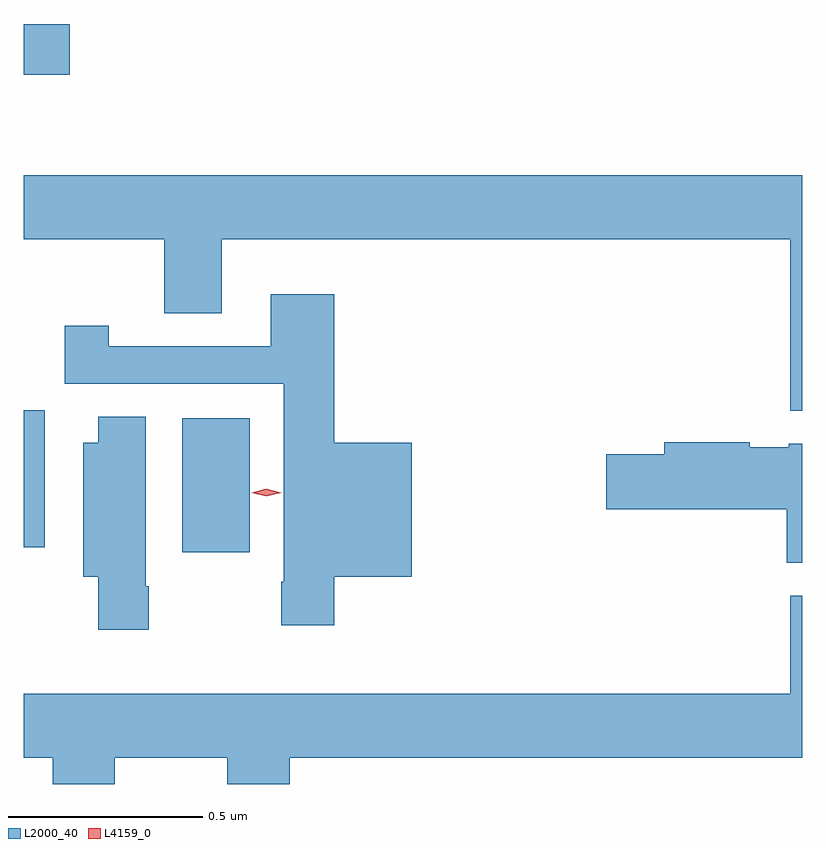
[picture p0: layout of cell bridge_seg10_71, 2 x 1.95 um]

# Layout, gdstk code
import gdstk
lib = gdstk.Library(unit=1e-6, precision=1e-09)
def R(c, l, rs):  # rectangles x0, y0, x1, y1
    for r in rs: c.add(gdstk.rectangle(r[:2], r[2:], *l))
def P(c, l, *ps):  # polygons
    for p in ps: c.add(gdstk.Polygon(p, *l))
L2000_40 = (2000, 40)
L4159_0 = (4159, 0)

bridge_seg10_71 = lib.new_cell('bridge_seg10_71')
R(bridge_seg10_71, L2000_40, [(731.678,1254.224,731.851,1254.568), (731.271,1254.237,731.325,1254.589), (731.271,1255.451,731.389,1255.581)])
P(bridge_seg10_71, L2000_40, [(733.271,1255.192),(731.271,1255.192),(731.271,1255.028),(731.632,1255.028),(731.632,1254.838),(731.779,1254.838),(731.779,1255.028),(733.241,1255.028),(733.241,1254.587),(733.271,1254.587)],
  [(732.068,1254.161),(732.268,1254.161),(732.268,1254.505),(732.068,1254.505),(732.068,1254.886),(731.906,1254.886),(731.906,1254.753),(731.489,1254.753),(731.489,1254.805),(731.376,1254.805),(731.376,1254.657),(731.939,1254.657),(731.939,1254.148),(731.932,1254.148),(731.932,1254.036),(732.068,1254.036)],
  [(731.592,1254.136),(731.584,1254.136),(731.584,1254.572),(731.462,1254.572),(731.462,1254.505),(731.423,1254.505),(731.423,1254.161),(731.462,1254.161),(731.462,1254.024),(731.592,1254.024)],
  [(733.271,1254.502),(733.236,1254.502),(733.236,1254.493),(733.136,1254.493),(733.136,1254.506),(732.917,1254.506),(732.917,1254.476),(732.768,1254.476),(732.768,1254.334),(733.232,1254.334),(733.232,1254.197),(733.271,1254.197)],
  [(731.505,1253.696),(731.794,1253.696),(731.794,1253.628),(731.954,1253.628),(731.954,1253.696),(733.271,1253.696),(733.271,1254.112),(733.241,1254.112),(733.241,1253.86),(731.271,1253.86),(731.271,1253.696),(731.345,1253.696),(731.345,1253.628),(731.505,1253.628)])
P(bridge_seg10_71, L4159_0, [(731.894,1254.367),(731.856,1254.377),(731.855,1254.377),(731.856,1254.377),(731.894,1254.387),(731.932,1254.377),(731.932,1254.376),(731.932,1254.376)])

lib.write_gds('bridge_seg10_71.gds')
